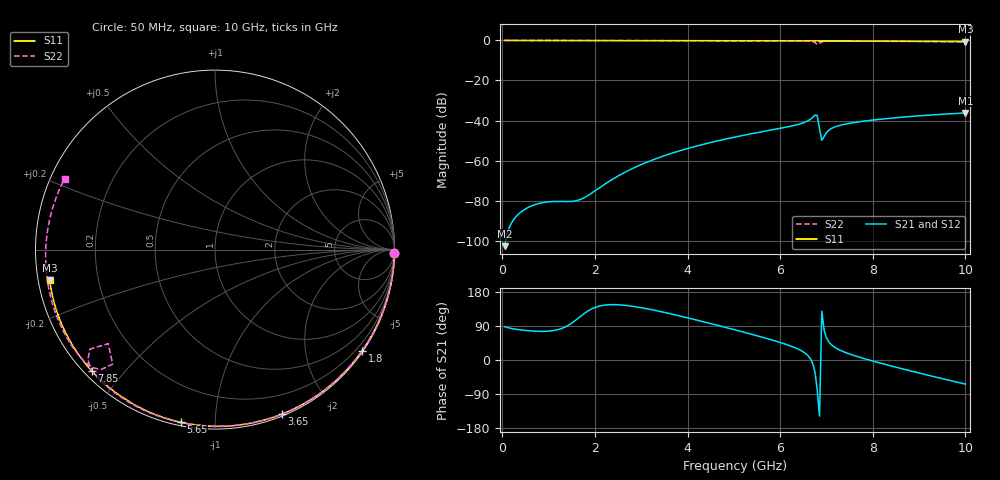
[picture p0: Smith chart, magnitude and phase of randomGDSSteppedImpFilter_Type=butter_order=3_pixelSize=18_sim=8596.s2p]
! freq	dB(S11)	phase(S11)	dB(S12)	phase(S12)
!  dB(S21)	phase(S21)	dB(S22)	phase(S22)
!S-par simulation data
#  GHz  S  DB  R 50
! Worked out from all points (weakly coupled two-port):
!   200 points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, 50 MHz to 10 GHz, reference 50 ohm
!   highest |S21| = -36.22 dB at 10 GHz (marker M1); lowest = -102.8 dB at 50 MHz (marker M2)
!   lowest |S11| = -0.6 dB at 10 GHz (marker M3), VSWR 30.62, Z = 1.65 - j4.61 ohm
!   |S11| at or under -10 dB: nowhere
!   |S22| runs from -2.0 to 0.0 dB; largest |S21 - S12| = 0
!   S11 on the Smith chart (normalised r, x): 50 MHz: open; 1.8 GHz: 0.03, -3.22; 3.65 GHz: 0.02, -1.49; 5.65 GHz: 0.02, -0.82; 7.85 GHz: 0.02, -0.41; 10 GHz: 0.03, -0.09
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0.05  -0.00 -1.0  -102.78 88.0  -102.78 88.0  -0.00 -1.1
0.8  -0.02 -15.5  -81.38 75.7  -81.38 75.7  -0.02 -17.4
1.6  -0.04 -30.7  -80.05 106.5  -80.05 106.5  -0.04 -34.5
1.75  -0.04 -33.5  -78.77 121.0  -78.77 121.0  -0.05 -37.7
1.8  -0.04 -34.5  -78.16 125.4  -78.16 125.4  -0.05 -38.8
2.6  -0.06 -49.2  -66.45 144.9  -66.45 144.9  -0.07 -55.4
3.4  -0.08 -63.5  -58.38 128.3  -58.38 128.3  -0.10 -71.6
3.65  -0.09 -67.9  -56.42 121.5  -56.42 121.5  -0.10 -76.5
5.05  -0.14 -91.5  -48.14 78.8  -48.14 78.8  -0.16 -103.7
5.65  -0.17 -101.2  -45.43 58.9  -45.43 58.9  -0.20 -115.2
6.4  -0.21 -113.1  -41.88 28.1  -41.88 28.1  -0.27 -130.3
6.7  -0.23 -117.8  -38.49 -8.0  -38.49 -8.0  -0.57 -139.1
6.75  -0.24 -118.6  -37.29 -30.3  -37.29 -30.3  -1.01 -141.5
6.8  -0.25 -119.3  -37.49 -78.5  -37.49 -78.5  -2.01 -138.6
6.85  -0.25 -120.0  -44.07 -148.0  -44.07 -148.0  -1.35 -131.8
6.9  -0.25 -120.8  -49.88 128.8  -49.88 128.8  -0.71 -133.5
7  -0.25 -122.4  -46.02 58.3  -46.02 58.3  -0.42 -137.4
7.15  -0.26 -124.7  -43.49 36.0  -43.49 36.0  -0.35 -141.5
7.85  -0.32 -135.5  -40.19 2.4  -40.19 2.4  -0.38 -156.5
8.35  -0.37 -143.2  -38.93 -14.3  -38.93 -14.3  -0.43 -166.9
9.2  -0.46 -156.5  -37.32 -40.4  -37.32 -40.4  -0.54 174.3
10  -0.57 -169.5  -36.22 -63.5  -36.22 -63.5  -0.66 154.7
